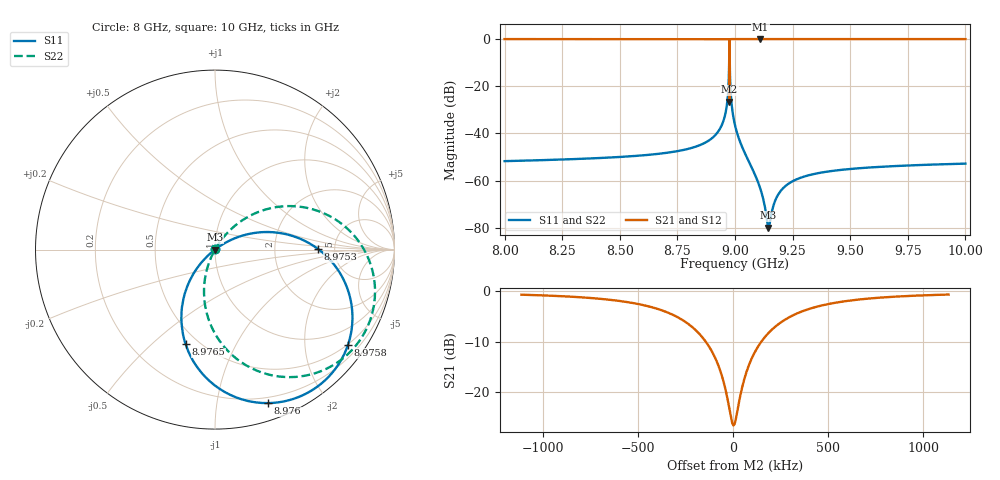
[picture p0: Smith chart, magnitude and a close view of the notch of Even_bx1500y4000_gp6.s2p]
! Sonnet Data File
! From: emgraph Version : 16.52
! From Emgraph Data: Resonator3
! Data File Written: 10/04/2017 12:28:16
!< HDATE 10/04/2017 11:56:44
!< MDATE 10/04/2017 11:56:44
# GHZ S MA R 51.80000
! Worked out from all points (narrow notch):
!   798 points, 8 GHz to 10 GHz, reference 51.8 ohm
!   highest |S21| = 0.00 dB at 9.11 GHz (marker M1); lowest = -26.6 dB at 8.9759 GHz (marker M2)
!   notch at M2: 26.6 dB deep, 191 kHz wide at half that depth
!   lowest |S11| = -79.9 dB at 9.1451 GHz (marker M3), VSWR 1.00, Z = 51.8 + j0.00775 ohm
!   |S11| at or under -10 dB: start of sweep to 8.9746 GHz; 8.9771 GHz to end of sweep
!   |S22| runs from -80.1 to -0.4 dB; largest |S21 - S12| = 0
!   S11 on the Smith chart (normalised r, x): 8 GHz: 1.00, +0.00; 8.9753 GHz: 3.69, +0.04; 8.9758 GHz: 0.48, -3.04; 8.976 GHz: 0.15, -1.39; 8.9765 GHz: 0.43, -0.65; 10 GHz: 1.00, +0.00
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8  0.002595 44.8  1 -36.7  1 -36.7  0.002595 61.9
!< P1 F=8.0 Eeff=(6.44905068 -2.9741e-5) Z0=(51.8075811 1.19494e-4) R=0.0 C=0.0
!< P2 F=8.0 Eeff=(6.44905069 -2.9741e-5) Z0=(51.8075809 1.19494e-4) R=0.0 C=0.0
8.34  0.002917 42.6  1 -38.3  1 -38.3  0.002917 60.8
8.67  0.003719 40.4  1 -39.9  1 -39.9  0.003719 60.0
8.849855  0.005727 38.7  1 -40.8  1 -40.8  0.005728 59.7
8.929534  0.01148 37.4  0.9999 -41.5  0.9999 -41.5  0.01148 59.6
8.96481  0.04032 35.1  0.9991 -43.3  0.9991 -43.3  0.04032 58.1
8.972056  0.1114 30.7  0.9932 -47.4  0.9932 -47.4  0.1114 53.8
8.974328  0.2617 21.5  0.9617 -56.2  0.9617 -56.2  0.2617 44.6
8.975299  0.5738 0.4  0.7991 -76.0  0.7991 -76.0  0.5738 23.6
8.97575  0.9115 -35.6  0.2959 -105.3  0.2959 -105.3  0.9115 -12.4
8.975885  0.9531 -52.5  0.04693 -43.1  0.04693 -43.1  0.9531 -29.3
8.976031  0.9045 -71.0  0.318 22.6  0.318 22.6  0.9045 -47.8
8.976503  0.5521 -107.2  0.8154 -7.5  0.8154 -7.5  0.5521 -84.0
8.977956  0.1962 -130.8  0.9786 -29.7  0.9786 -29.7  0.1962 -107.5
8.982596  0.06006 -139.2  0.998 -37.6  0.998 -37.6  0.06006 -115.7
9  0.01499 -142.2  0.9999 -40.3  0.9999 -40.3  0.01499 -118.2
9.11  0.0006767 -151.9  1 -41.6  1 -41.6  0.0006758 -111.5
9.145064  0.0001012 132.3  1 -41.8  1 -41.8  9.874e-05 -35.7
9.21  0.0007035 44.3  1 -42.1  1 -42.1  0.0007037 51.7
9.34  0.001376 39.5  1 -42.8  1 -42.8  0.001377 55.1
9.67  0.002015 36.3  1 -44.3  1 -44.3  0.002015 55.2
10  0.002299 34.1  1 -45.9  1 -45.9  0.0023 54.3
